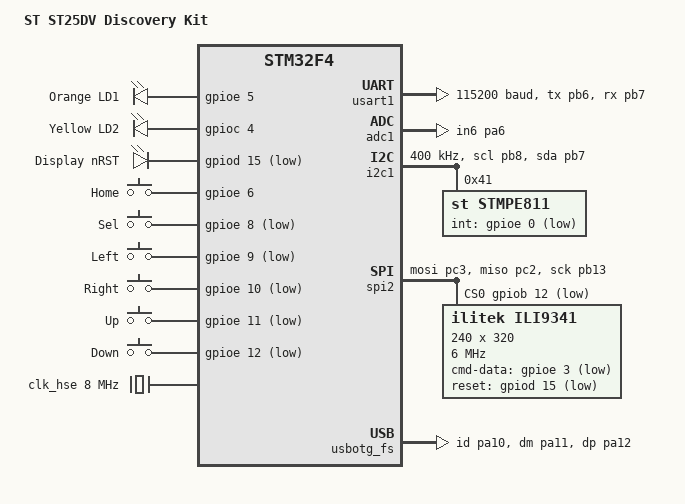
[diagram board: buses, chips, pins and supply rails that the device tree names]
/*
 * Copyright (c) 2024 Eve Redero
 *
 * SPDX-License-Identifier: Apache-2.0
 */

/dts-v1/;
#include "st/f4/stm32f405Xg.dtsi"
#include "st/f4/stm32f405vgtx-pinctrl.dtsi"
#include <zephyr/dt-bindings/input/input-event-codes.h>

/ {
	model = "ST ST25DV Discovery Kit";
	compatible = "st,stm32f405", "st,stm32f4";

	chosen {
		zephyr,console = &usart1;
		zephyr,shell-uart = &usart1;
		zephyr,sram = &sram0;
		zephyr,flash = &flash0;
		zephyr,display = &ili9341;
	};

	leds {
		compatible = "gpio-leds";
		orange_led: led_1 {
			gpios = <&gpioe 5 GPIO_ACTIVE_HIGH>;
			label = "Orange LD1";
		};
		yellow_led: led_2 {
			gpios = <&gpioc 4 GPIO_ACTIVE_HIGH>;
			label = "Yellow LD2";
		};
		displ_reset: rst_1 {
			gpios = <&gpiod 15 GPIO_ACTIVE_LOW>;
			label = "Display nRST";
		};
	};

	gpio_keys {
		compatible = "gpio-keys";
		blue_button: button_1 {
			label = "Home";
			gpios = <&gpioe 6 GPIO_ACTIVE_HIGH>;
			zephyr,code = <INPUT_KEY_0>;
		};
		sel_button: button_2 {
			label = "Sel";
			gpios = <&gpioe 8 GPIO_ACTIVE_LOW>;
			zephyr,code = <INPUT_KEY_1>;
		};
		left_button: button_3 {
			label = "Left";
			gpios = <&gpioe 9 GPIO_ACTIVE_LOW>;
			zephyr,code = <INPUT_KEY_2>;
		};
		right_button: button_4 {
			label = "Right";
			gpios = <&gpioe 10 GPIO_ACTIVE_LOW>;
			zephyr,code = <INPUT_KEY_3>;
		};
		up_button: button_5 {
			label = "Up";
			gpios = <&gpioe 11 GPIO_ACTIVE_LOW>;
			zephyr,code = <INPUT_KEY_4>;
		};
		down_button: button_6 {
			label = "Down";
			gpios = <&gpioe 12 GPIO_ACTIVE_LOW>;
			zephyr,code = <INPUT_KEY_5>;
		};
	};

	aliases {
		led0 = &orange_led;
		sw0 = &blue_button;
	};
};

&clk_hse {
	clock-frequency = <DT_FREQ_M(8)>;
	status = "okay";
};

&pll {
// TODO check clock conf
	div-m = <25>;
	mul-n = <432>;
	div-p = <2>;
	div-q = <9>;
	clocks = <&clk_hse>;
	status = "okay";
};

&rcc {
	clocks = <&pll>;
	clock-frequency = <DT_FREQ_M(216)>;
	ahb-prescaler = <1>;
	apb1-prescaler = <4>;
	apb2-prescaler = <2>;
};

&usart1 {
	pinctrl-0 = <&usart1_tx_pb6 &usart1_rx_pb7>;
	pinctrl-names = "default";
	current-speed = <115200>;
	status = "okay";
};

&adc1 {
	pinctrl-0 = <&adc1_in6_pa6>;
	pinctrl-names = "default";
        st,adc-prescaler = <4>;
};


&i2c1 {
	pinctrl-0 = <&i2c1_scl_pb8 &i2c1_sda_pb7>;
	pinctrl-names = "default";
	status = "okay";
};

&spi2 {
	#address-cells = <1>;
	#size-cells = <0>;
	pinctrl-0 = <&spi2_mosi_pc3 &spi2_miso_pc2 &spi2_sck_pb13>;
	cs-gpios = <&gpiob 12 (GPIO_ACTIVE_LOW | GPIO_PULL_UP)>;
	pinctrl-names = "default";
	status = "okay";

	ili9341: ili9341@0 {
		compatible = "ilitek,ili9341";
		spi-max-frequency = <6000000>; /* Max 50 Mbit/s */
		reg = <0>;
		cmd-data-gpios = <&gpioe 3 GPIO_ACTIVE_LOW>;
		reset-gpios = <&gpiod 15 GPIO_ACTIVE_LOW>;
		pixel-format = <0>;//RGB666
		rotation = <0>;
		width = <240>;
		height = <320>;
                //duplex = <0x800>; //SPI_HALF_DUPLEX;
	};
};

&i2c1 {
	pinctrl-0 = <&i2c1_scl_pb8 &i2c1_sda_pb7>;
	pinctrl-names = "default";
	status = "okay";
	clock-frequency = <I2C_BITRATE_FAST>;

	stmpe811: stmpe811@41 {
		compatible = "st,stmpe811";
		status = "okay";
		reg = <0x41>;
		int-gpios = <&gpioe 0 GPIO_ACTIVE_LOW>;
		screen-width = <240>;
		screen-height = <320>;
		raw-x-min = <240>;
		raw-y-min = <200>;
		raw-x-max = <3680>;
		raw-y-max = <3800>;
		panel-driver-settling-time-us = <1000>;
		touch-detect-delay-us = <5000>;
		touch-average-control = <8>;
		tracking-index = <127>;
	};
};

zephyr_udc0: &usbotg_fs {
	pinctrl-0 = <&usb_otg_fs_id_pa10 &usb_otg_fs_dm_pa11 &usb_otg_fs_dp_pa12>;
	pinctrl-names = "default";
        // Adding PLL fixes the "clock domain not found" issue
        //clocks = <&rcc STM32_CLOCK_BUS_AHB1 0x20000000>,
        //         <&rcc STM32_SRC_PLL_Q CK48M_SEL(0)>;
	status = "okay";
};
